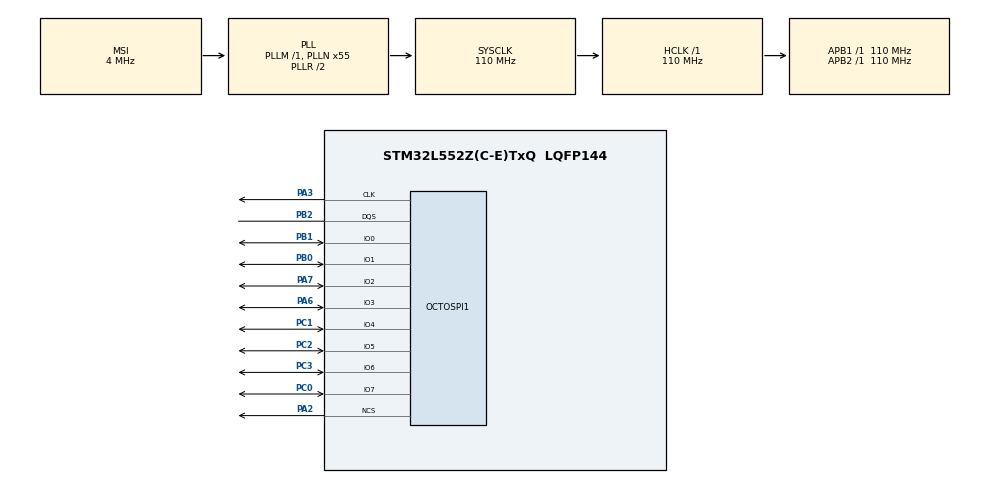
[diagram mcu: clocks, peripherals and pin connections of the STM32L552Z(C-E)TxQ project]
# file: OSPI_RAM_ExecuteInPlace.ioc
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Mcu.Family=STM32L5
Mcu.Name=STM32L552Z(C-E)TxQ
Mcu.Package=LQFP144
NVIC.OCTOSPI1_IRQn=true\:0\:0\:false\:false\:true\:true\:true\:true
NVIC.PriorityGroup=NVIC_PRIORITYGROUP_3
OCTOSPI1.AccessTime=6
OCTOSPI1.ClockPrescaler=3
OCTOSPI1.DelayBlockBypass=HAL_OSPI_DELAY_BLOCK_USED
OCTOSPI1.DelayHoldQuarterCycle=HAL_OSPI_DHQC_ENABLE
OCTOSPI1.DeviceSize=23
OCTOSPI1.FifoThreshold=2
OCTOSPI1.LatencyMode=HAL_OSPI_FIXED_LATENCY
OCTOSPI1.RWRecoveryTime=3
OCTOSPI1.WriteZeroLatency=HAL_OSPI_LATENCY_ON_WRITE
PA2.GPIO_PuPd=GPIO_PULLUP
PA2.Mode=hyperbus_mode
PA2.Signal=OCTOSPI1_NCS
PA3.Mode=hyperbus_mode
PA3.Signal=OCTOSPI1_CLK
PA6.Mode=hyperbus_mode
PA6.Signal=OCTOSPI1_IO3
PA7.Mode=hyperbus_mode
PA7.Signal=OCTOSPI1_IO2
PB0.Mode=hyperbus_mode
PB0.Signal=OCTOSPI1_IO1
PB1.Mode=hyperbus_mode
PB1.Signal=OCTOSPI1_IO0
PB2.Mode=hyperbus_mode
PB2.Signal=OCTOSPI1_DQS
PC0.Mode=hyperbus_mode
PC0.Signal=OCTOSPI1_IO7
PC1.Mode=hyperbus_mode
PC1.Signal=OCTOSPI1_IO4
PC2.Mode=hyperbus_mode
PC2.Signal=OCTOSPI1_IO5
PC3.Mode=hyperbus_mode
PC3.Signal=OCTOSPI1_IO6
ProjectManager.HeapSize=0x200
ProjectManager.StackSize=0x400
ProjectManager.TargetToolchain=EWARM V8.32
RCC.AHBFreq_Value=110000000
RCC.APB1Freq_Value=110000000
RCC.APB1TimFreq_Value=110000000
RCC.APB2Freq_Value=110000000
RCC.APB2TimFreq_Value=110000000
RCC.CortexFreq_Value=110000000
RCC.HCLKFreq_Value=110000000
RCC.HSE_VALUE=16000000
RCC.HSI48_VALUE=48000000
RCC.HSI_VALUE=16000000
RCC.LSE_VALUE=32768
RCC.MSI_VALUE=4000000
RCC.PLLN=55
RCC.SYSCLKFreq_VALUE=110000000
RCC.SYSCLKSource=RCC_SYSCLKSOURCE_PLLCLK
RCC.VCOOutputFreq_Value=220000000
VP_ICACHE_VS_ICACHE.Mode=DirectMappedCache
VP_PWR_VS_DBSignals.Mode=DisableDeadBatterySignals
board=custom

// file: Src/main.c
/* USER CODE BEGIN Header */
/**
  ******************************************************************************
  * @file    OSPI/OSPI_RAM_ExecuteInPlace/Src/main.c
  * @author  MCD Application Team
  * @brief   This example describes how to configure and use OctoSPI through
  *          the STM32L5xx HAL API.
  ******************************************************************************
  * @attention
  *
  * Copyright (c) 2019 STMicroelectronics.
  * All rights reserved.
  *
  * This software is licensed under terms that can be found in the LICENSE file
  * in the root directory of this software component.
  * If no LICENSE file comes with this software, it is provided AS-IS.
  *
  ******************************************************************************
  */
/* USER CODE END Header */
#include "main.h"

/* USER CODE BEGIN PD */
#if defined(__ARMCC_VERSION)
extern uint32_t Load$$OSPI_RAM$$Base;
extern uint32_t Load$$OSPI_RAM$$Length;
#elif defined(__ICCARM__)
#pragma section =".ospi_ram"
#pragma section =".ospi_ram_init"
#elif defined(__GNUC__)
extern uint32_t _ospi_ram_init_base;
extern uint32_t _ospi_ram_init_length;
#endif
/* USER CODE END PD */

OSPI_HandleTypeDef hospi1;

void SystemClock_Config(void);
static void MX_GPIO_Init(void);
static void MX_ICACHE_Init(void);
static void MX_OCTOSPI1_Init(void);
/* USER CODE BEGIN PFP */
static void GpioToggle(void);
/* USER CODE END PFP */

int main(void)
{
  /* USER CODE BEGIN 1 */
  OSPI_HyperbusCmdTypeDef sCommand;
  OSPI_MemoryMappedTypeDef sMemMappedCfg;
  __IO uint8_t *ospi_addr = 0;
  uint8_t *flash_addr;
  uint32_t max_size;
  /* USER CODE END 1 */

  /* MCU Configuration--------------------------------------------------------*/

  /* Reset of all peripherals, Initializes the Flash interface and the Systick. */
  HAL_Init();

  /* Configure the system clock */
  SystemClock_Config();

  /* USER CODE BEGIN SysInit */
  BSP_LED_Init(LED4);
  BSP_LED_Init(LED5);
  /* USER CODE END SysInit */

  /* Initialize all configured peripherals */
  MX_GPIO_Init();
  MX_ICACHE_Init();
  MX_OCTOSPI1_Init();
  /* USER CODE BEGIN 2 */

  /* Caution: Despite instruction cache is enabled, no need for cache invalidation here */
  /*          since no previous fetch (read/execute) instructions were executed on      */
  /*          a different memory content                                                */

  /* Memory-mapped mode configuration --------------------------------------- */
  sCommand.AddressSpace = HAL_OSPI_MEMORY_ADDRESS_SPACE;
  sCommand.AddressSize  = HAL_OSPI_ADDRESS_32_BITS;
  sCommand.DQSMode      = HAL_OSPI_DQS_ENABLE;
  sCommand.Address      = 0;
  sCommand.NbData       = 1;

  if (HAL_OSPI_HyperbusCmd(&hospi1, &sCommand, HAL_OSPI_TIMEOUT_DEFAULT_VALUE) != HAL_OK)
  {
    Error_Handler();
  }

  sMemMappedCfg.TimeOutActivation = HAL_OSPI_TIMEOUT_COUNTER_DISABLE;

  if (HAL_OSPI_MemoryMapped(&hospi1, &sMemMappedCfg) != HAL_OK)
  {
    Error_Handler();
  }

  /* Initialize the variables for the data writing -------------------------- */
  ospi_addr = (__IO uint8_t *)(OCTOSPI1_BASE);
#if defined(__ARMCC_VERSION)
  max_size = (uint32_t)(&Load$$OSPI_RAM$$Length);
  flash_addr = (uint8_t *)(&Load$$OSPI_RAM$$Base);
#elif defined(__ICCARM__)
  max_size = __section_size(".ospi_ram_init");
  flash_addr = (uint8_t *)(__section_begin(".ospi_ram_init"));
#elif defined(__GNUC__)
  max_size = (uint32_t)((uint8_t *)(&_ospi_ram_init_length));
  flash_addr = (uint8_t *)(&_ospi_ram_init_base);
#endif

  /* Writing Sequence ------------------------------------------------------- */
  for (; max_size > 0; max_size--, flash_addr++, ospi_addr++)
  {
    *ospi_addr = *flash_addr;
  }
  /* USER CODE END 2 */

  /* Infinite loop */
  /* USER CODE BEGIN WHILE */
  while (1)
  {
    /* Execute the code from OSPI HyperRAM memory --------------------------- */
    GpioToggle();
    /* USER CODE END WHILE */

  }
}

void SystemClock_Config(void)
{
  RCC_OscInitTypeDef RCC_OscInitStruct = {0};
  RCC_ClkInitTypeDef RCC_ClkInitStruct = {0};

  /** Configure the main internal regulator output voltage
  */
  if (HAL_PWREx_ControlVoltageScaling(PWR_REGULATOR_VOLTAGE_SCALE0) != HAL_OK)
  {
    Error_Handler();
  }

  /** Initializes the RCC Oscillators according to the specified parameters
  * in the RCC_OscInitTypeDef structure.
  */
  RCC_OscInitStruct.OscillatorType = RCC_OSCILLATORTYPE_MSI;
  RCC_OscInitStruct.MSIState = RCC_MSI_ON;
  RCC_OscInitStruct.MSICalibrationValue = RCC_MSICALIBRATION_DEFAULT;
  RCC_OscInitStruct.MSIClockRange = RCC_MSIRANGE_6;
  RCC_OscInitStruct.PLL.PLLState = RCC_PLL_ON;
  RCC_OscInitStruct.PLL.PLLSource = RCC_PLLSOURCE_MSI;
  RCC_OscInitStruct.PLL.PLLM = 1;
  RCC_OscInitStruct.PLL.PLLN = 55;
  RCC_OscInitStruct.PLL.PLLP = RCC_PLLP_DIV7;
  RCC_OscInitStruct.PLL.PLLQ = RCC_PLLQ_DIV2;
  RCC_OscInitStruct.PLL.PLLR = RCC_PLLR_DIV2;
  if (HAL_RCC_OscConfig(&RCC_OscInitStruct) != HAL_OK)
  {
    Error_Handler();
  }

  /** Initializes the CPU, AHB and APB buses clocks
  */
  RCC_ClkInitStruct.ClockType = RCC_CLOCKTYPE_HCLK|RCC_CLOCKTYPE_SYSCLK
                              |RCC_CLOCKTYPE_PCLK1|RCC_CLOCKTYPE_PCLK2;
  RCC_ClkInitStruct.SYSCLKSource = RCC_SYSCLKSOURCE_PLLCLK;
  RCC_ClkInitStruct.AHBCLKDivider = RCC_SYSCLK_DIV1;
  RCC_ClkInitStruct.APB1CLKDivider = RCC_HCLK_DIV1;
  RCC_ClkInitStruct.APB2CLKDivider = RCC_HCLK_DIV1;

  if (HAL_RCC_ClockConfig(&RCC_ClkInitStruct, FLASH_LATENCY_5) != HAL_OK)
  {
    Error_Handler();
  }
}

static void MX_ICACHE_Init(void)
{

  /** Enable instruction cache in 1-way (direct mapped cache)
  */
  if (HAL_ICACHE_ConfigAssociativityMode(ICACHE_1WAY) != HAL_OK)
  {
    Error_Handler();
  }
  if (HAL_ICACHE_Enable() != HAL_OK)
  {
    Error_Handler();
  }

}

static void MX_OCTOSPI1_Init(void)
{

  OSPI_HyperbusCfgTypeDef sHyperBusCfg = {0};

  /* OCTOSPI1 parameter configuration*/
  hospi1.Instance = OCTOSPI1;
  hospi1.Init.FifoThreshold = 2;
  hospi1.Init.DualQuad = HAL_OSPI_DUALQUAD_DISABLE;
  hospi1.Init.MemoryType = HAL_OSPI_MEMTYPE_HYPERBUS;
  hospi1.Init.DeviceSize = 23;
  hospi1.Init.ChipSelectHighTime = 1;
  hospi1.Init.FreeRunningClock = HAL_OSPI_FREERUNCLK_DISABLE;
  hospi1.Init.ClockMode = HAL_OSPI_CLOCK_MODE_0;
  hospi1.Init.WrapSize = HAL_OSPI_WRAP_NOT_SUPPORTED;
  hospi1.Init.ClockPrescaler = 3;
  hospi1.Init.SampleShifting = HAL_OSPI_SAMPLE_SHIFTING_NONE;
  hospi1.Init.DelayHoldQuarterCycle = HAL_OSPI_DHQC_ENABLE;
  hospi1.Init.ChipSelectBoundary = 0;
  hospi1.Init.DelayBlockBypass = HAL_OSPI_DELAY_BLOCK_USED;
  hospi1.Init.Refresh = 0;
  if (HAL_OSPI_Init(&hospi1) != HAL_OK)
  {
    Error_Handler();
  }
  sHyperBusCfg.RWRecoveryTime = 3;
  sHyperBusCfg.AccessTime = 6;
  sHyperBusCfg.WriteZeroLatency = HAL_OSPI_LATENCY_ON_WRITE;
  sHyperBusCfg.LatencyMode = HAL_OSPI_FIXED_LATENCY;
  if (HAL_OSPI_HyperbusCfg(&hospi1, &sHyperBusCfg, HAL_OSPI_TIMEOUT_DEFAULT_VALUE) != HAL_OK)
  {
    Error_Handler();
  }

}

static void MX_GPIO_Init(void)
{

  /* GPIO Ports Clock Enable */
  __HAL_RCC_GPIOC_CLK_ENABLE();
  __HAL_RCC_GPIOA_CLK_ENABLE();
  __HAL_RCC_GPIOB_CLK_ENABLE();

}

/* USER CODE BEGIN 4 */
/**
  * @brief  Transfer Error callback.
  * @param  hospi: OSPI handle
  * @retval None
  */
void HAL_OSPI_ErrorCallback(OSPI_HandleTypeDef *hospi)
{
  Error_Handler();
}

/**
  * @brief  Toggle the GPIOs
  * @param  None
  * @retval None
  */
#if defined(__ICCARM__)
static void GpioToggle(void) @ ".ospi_ram"
#elif defined(__ARMCC_VERSION) || defined(__GNUC__)
static void __attribute__((section(".ospi_ram"), noinline)) GpioToggle(void)
#endif
{
  BSP_LED_Toggle(LED4);
  /* Insert delay 100 ms */
  HAL_Delay(100);
  BSP_LED_Toggle(LED5);
  /* Insert delay 100 ms */
  HAL_Delay(100);
}
/* USER CODE END 4 */

void Error_Handler(void)
{
  /* USER CODE BEGIN Error_Handler_Debug */
  BSP_LED_On(LED_RED);

  /* User may add here some code to deal with this error */
  while(1)
  {
  }
  /* USER CODE END Error_Handler_Debug */
}
